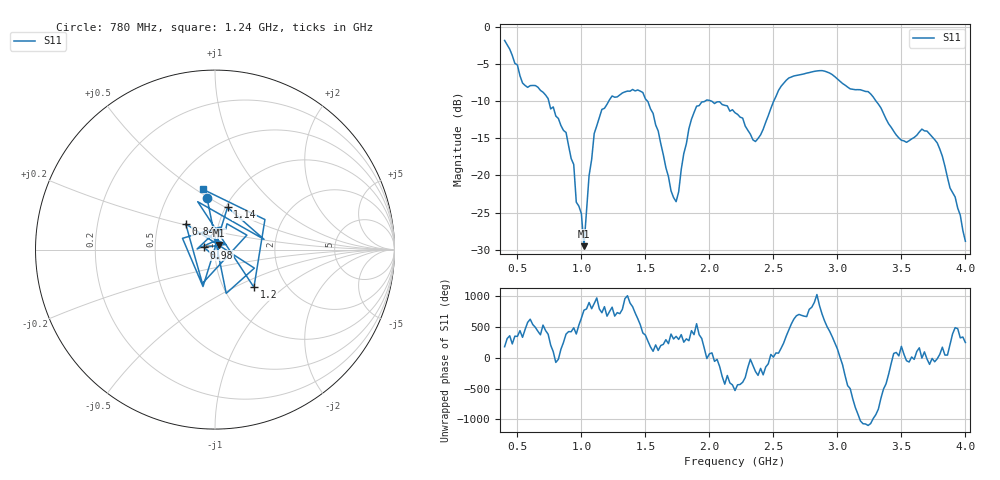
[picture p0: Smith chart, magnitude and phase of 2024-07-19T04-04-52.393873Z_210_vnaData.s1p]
!Created with skrf (http://scikit-rf.org).
# Hz S RI R 50.0
!freq ReS11 ImS11
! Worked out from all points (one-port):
!   181 points, 400 MHz to 4 GHz, reference 50 ohm
!   lowest |S11| = -29.5 dB at 1.02 GHz (marker M1), VSWR 1.07, Z = 52 + j2.76 ohm
!   |S11| at or under -10 dB: 745.3 MHz to 1.213 GHz (467.4 MHz wide, 47.7 % of centre); 2.02 GHz to 2.502 GHz (481.7 MHz wide, 21.3 % of centre); 3.303 GHz to end of sweep (the widest 3 of 4)
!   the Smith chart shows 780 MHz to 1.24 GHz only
!   S11 on the Smith chart (normalised r, x): 780 MHz: 0.78, +0.49; 840 MHz: 0.69, +0.21; 980 MHz: 0.88, +0.02; 1.14 GHz: 1.02, +0.51; 1.2 GHz: 1.38, -0.64; 1.24 GHz: 0.70, +0.54
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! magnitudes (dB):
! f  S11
! 400 MHz  -1.8
! 540 MHz  -7.5
! 780 MHz  -10.8
! 840 MHz  -13.3
! 860 MHz  -13.9
! 940 MHz  -18.5
! 960 MHz  -23.6
! 980 MHz  -24.1
! 1.02 GHz  -29.5
! 1.06 GHz  -20.0
! 1.14 GHz  -12.2
! 1.2 GHz  -10.4
! 1.24 GHz  -9.3
! 1.3 GHz  -9.1
! 1.48 GHz  -8.8
! 1.6 GHz  -14.0
! 1.7 GHz  -22.1
! 1.76 GHz  -22.2
! 1.84 GHz  -13.7
! 1.9 GHz  -10.7
! 2.2 GHz  -11.5
! 2.36 GHz  -15.4
! 2.66 GHz  -6.6
! 3.1 GHz  -8.3
! 3.24 GHz  -8.7
! 3.56 GHz  -15.3
! 3.78 GHz  -15.6
! 4 GHz  -28.9
